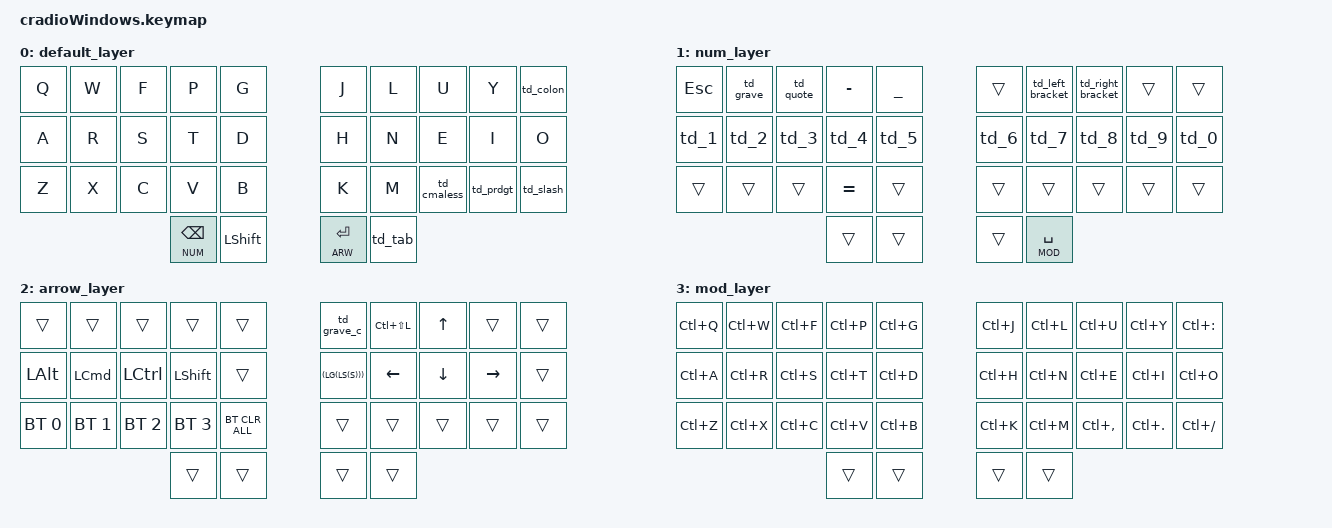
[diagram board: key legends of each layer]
// Copyright (c) 2022 The ZMK Contributors
// SPDX-License-Identifier: MIT

#include <behaviors.dtsi>
#include <dt-bindings/zmk/keys.h>
#include <dt-bindings/zmk/bt.h>

// Home row mods macro
#define HRML(k1,k2,k3,k4) &ht LSHFT k1  &ht LALT k2  &ht LCTRL k3  &ht LGUI k4
#define HRMR(k1,k2,k3,k4) &ht RGUI k1  &ht RCTRL k2  &ht RALT k3  &ht RSHFT k4
#define DFLT 0
#define NUM 1
#define ARW 2
#define MOD 3
//add comment
/ {
    behaviors {
        ht: hold_tap {
            compatible = "zmk,behavior-hold-tap";
            #binding-cells = <2>;
            flavor = "tap-preferred";
            tapping-term-ms = <220>;
            quick-tap-ms = <150>;
            require-prior-idle-ms = <100>;
            bindings = <&kp>, <&kp>;
        };

        
    };
     conditional_layers {
        compatible = "zmk,conditional-layers";
        tri_layer {
            if-layers = <NUM ARW>;
            then-layer = <MOD>;
        };
    };

    td_1: tap_dance_1 {
        compatible = "zmk,behavior-tap-dance";
        #binding-cells = <0>;
        bindings = <&kp N1>, <&kp EXCL>;
    };

    td_2: tap_dance_2 {
        compatible = "zmk,behavior-tap-dance";
        #binding-cells = <0>;
        bindings = <&kp N2>, <&kp AT>;
    };
    td_3: tap_dance_3 {
        compatible = "zmk,behavior-tap-dance";
        #binding-cells = <0>;
        bindings = <&kp N3>, <&kp HASH>;
    };
    td_4: tap_dance_4 {
        compatible = "zmk,behavior-tap-dance";
        #binding-cells = <0>;
        bindings = <&kp N4>, <&kp DLLR>;
    };
    td_5: tap_dance_5 {
        compatible = "zmk,behavior-tap-dance";
        #binding-cells = <0>;
        bindings = <&kp N5>, <&kp PRCNT>;
    };
    td_6: tap_dance_6 {
        compatible = "zmk,behavior-tap-dance";
        #binding-cells = <0>;
        bindings = <&kp N6>, <&kp CARET>;
    };
    td_7: tap_dance_7 {
        compatible = "zmk,behavior-tap-dance";
        #binding-cells = <0>;
        bindings = <&kp N7>, <&kp AMPS>;
    };

    td_8: tap_dance_8 {
        compatible = "zmk,behavior-tap-dance";
        #binding-cells = <0>;
        bindings = <&kp N8>, <&kp ASTRK>;
    };
    td_9: tap_dance_9 {
        compatible = "zmk,behavior-tap-dance";
        #binding-cells = <0>;
        bindings = <&kp N9>, <&kp LPAR>;
    };
    td_0: tap_dance_0 {
        compatible = "zmk,behavior-tap-dance";
        #binding-cells = <0>;
        bindings = <&kp N0>, <&kp RPAR>;
    };
    td_tab: tap_dance_tab {
        compatible = "zmk,behavior-tap-dance";
        #binding-cells = <0>;
        bindings = <&kp SPACE>, <&kp TAB>;
    };
    td_slash: tap_dance_slash {
        compatible = "zmk,behavior-tap-dance";
        #binding-cells = <0>;
        bindings = <&kp FSLH>, <&kp BSLH>;
    };
    td_quote: tap_dance_quote {
        compatible = "zmk,behavior-tap-dance";
        #binding-cells = <0>;
        bindings = <&kp SQT>, <&kp DQT>;
    };
    td_left_bracket: tap_dance_left_bracket {
        compatible = "zmk,behavior-tap-dance";
        #binding-cells = <0>;
        bindings = <&kp LBKT>, <&kp LBRC>;
    };
    td_right_bracket: tap_dance_right_bracket {
        compatible = "zmk,behavior-tap-dance";
        #binding-cells = <0>;
        bindings = <&kp RBKT>, <&kp RBRC>;
    };
    td_cv: tap_dance_cv {
        compatible = "zmk,behavior-tap-dance";
        #binding-cells = <0>;
        bindings = <&kp C>, <&kp V>;
    };
    td_pl: tap_pl {
        compatible = "zmk,behavior-tap-dance";
        #binding-cells = <0>;
        bindings = <&kp P>, <&kp L>;
    };
    td_tn: tap_tn {
        compatible = "zmk,behavior-tap-dance";
        #binding-cells = <0>;
        bindings = <&kp T>, <&kp N>;
    };
    td_iw: tap_iw {
        compatible = "zmk,behavior-tap-dance";
        #binding-cells = <0>;
        bindings = <&kp I>, <&kp W>;
    }; 
    td_dk: tap_dk {
        compatible = "zmk,behavior-tap-dance";
        #binding-cells = <0>;
        bindings = <&kp D>, <&kp K>;
    };
    td_cmaless: tap_cmaless {
        compatible = "zmk,behavior-tap-dance";
        #binding-cells = <0>;
        bindings = <&kp COMMA>, <&kp LT>;
    };
    td_prdgt: tap_prdgt {
        compatible = "zmk,behavior-tap-dance";
        #binding-cells = <0>;
        bindings = <&kp DOT>, <&kp GT>;
    };
    td_sz: tap_sz {
        compatible = "zmk,behavior-tap-dance";
        #binding-cells = <0>;
        bindings = <&kp S>, <&kp Z>;
    };
    td_colon: tap_colon {
        compatible = "zmk,behavior-tap-dance";
        #binding-cells = <0>;
        bindings = <&kp SEMI>, <&kp COLON>;
    };
    td_grave: tap_grave {
        compatible = "zmk,behavior-tap-dance";
        #binding-cells = <0>;
        bindings = <&kp GRAVE>, <&kp TILDE>;
    };
    td_grave_c: tap_grave_c {
        compatible = "zmk,behavior-tap-dance";
        #binding-cells = <0>;
        bindings = <&kp GRAVE>, <&kp LC(C)>;
    };
 
    keymap {
        compatible = "zmk,keymap";
        default_layer {
            bindings = <
            &kp Q      &kp W      &kp F      &kp P      &kp G          &kp J      &kp L      &kp U      &kp Y      &td_colon
            &kp A        &kp R       &kp S     &kp T     &kp D          &kp H      &kp N     &kp E       &kp I     &kp O
            &kp Z      &kp X      &kp C      &kp V      &kp B          &kp K      &kp M      &td_cmaless  &td_prdgt    &td_slash
                                          &lt NUM BSPC   &kp LSHFT   &lt ARW ENTER  &td_tab    
            >;
        };

        num_layer {
            bindings = <
            &kp ESC    &td_grave  &td_quote   &kp MINUS   &kp UNDER        &trans     &td_left_bracket   &td_right_bracket      &trans      &trans
            &td_1     &td_2      &td_3      &td_4       &td_5         &td_6      &td_7      &td_8      &td_9     &td_0 
            &trans     &trans   &trans    &kp EQUAL      &trans      &trans       &trans     &trans   &trans    &trans
                                             &trans     &trans       &trans       &lt MOD SPACE     
            >;
        };

        arrow_layer {
            bindings = <
            &trans     &trans      &trans     &trans    &trans         &td_grave_c   &kp LC(LS(L))     &kp UP     &trans    &trans
            &kp LALT   &kp LCMD   &kp LCTRL   &kp LSHFT   &trans      &kp (LG(LS(S)))      &kp LEFT  &kp DOWN    &kp RIGHT   &trans
             &bt BT_SEL 0     &bt BT_SEL 1   &bt BT_SEL 2     &bt BT_SEL 3     &bt BT_CLR_ALL        &trans      &trans     &trans     &trans  &trans
                                             &trans     &trans         &trans     &trans
            >;
        };

        mod_layer {
            bindings = <
           &kp LC(Q)      &kp LC(W)     &kp LC(F)     &kp LC(P)    &kp LC(G)            &kp LC(J)     &kp LC(L)     &kp LC(U)     &kp LC(Y)    &kp LC(COLON)
           &kp LC(A)    &kp LC(R)  &kp LC(S)  &kp LC(T)      &kp LC(D)              &kp LC(H) &kp LC(N)  &kp LC(E) &kp LC(I) &kp LC(O)
            &kp LC(Z)    &kp LC(X)    &kp LC(C)    &kp LC(V)    &kp LC(B)            &kp LC(K)    &kp LC(M)    &kp LC(COMMA)  &kp LC(DOT)  &kp LC(SLASH)
                                             &trans     &trans         &trans     &trans
            >;
        };
    };
};
